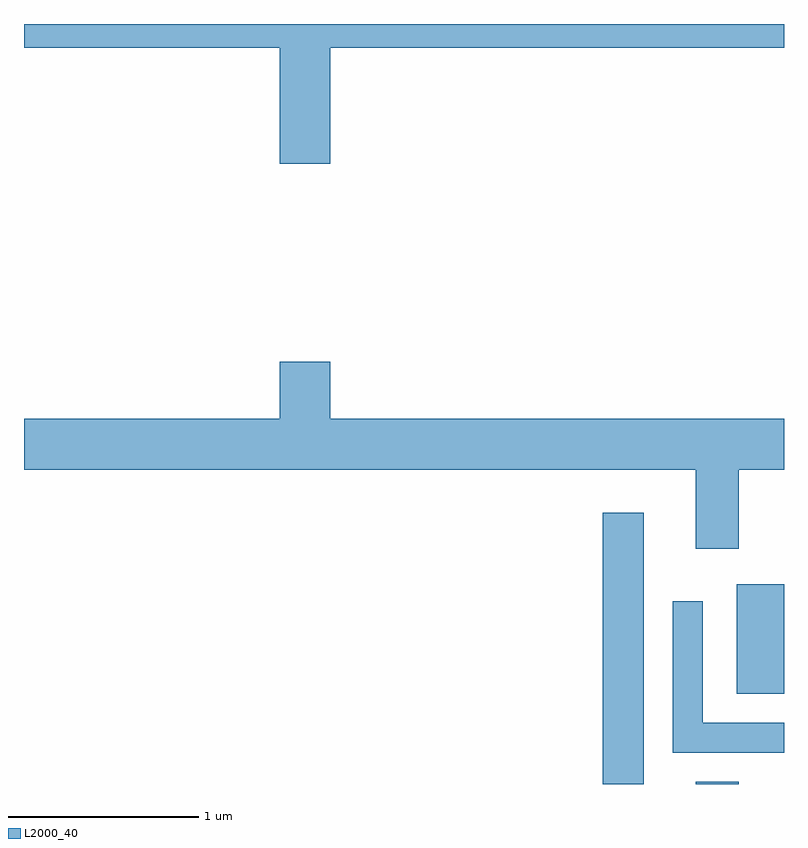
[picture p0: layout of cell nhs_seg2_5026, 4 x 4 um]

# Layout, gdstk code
import gdstk
lib = gdstk.Library(unit=1e-6, precision=1e-09)
def R(c, l, rs):  # rectangles x0, y0, x1, y1
    for r in rs: c.add(gdstk.rectangle(r[:2], r[2:], *l))
def P(c, l, *ps):  # polygons
    for p in ps: c.add(gdstk.Polygon(p, *l))
L2000_40 = (2000, 40)

nhs_seg2_5026 = lib.new_cell('nhs_seg2_5026')
R(nhs_seg2_5026, L2000_40, [(336.656,1017.802,336.874,1019.229), (337.146,1017.802,337.374,1017.814), (337.361,1018.276,337.611,1018.854)])
P(nhs_seg2_5026, L2000_40, [(335.224,1021.676),(337.611,1021.676),(337.611,1021.802),(333.611,1021.802),(333.611,1021.676),(334.956,1021.676),(334.956,1021.066),(335.224,1021.066)],
  [(337.146,1019.041),(337.374,1019.041),(337.374,1019.456),(337.611,1019.456),(337.611,1019.724),(335.224,1019.724),(335.224,1020.024),(334.956,1020.024),(334.956,1019.724),(333.611,1019.724),(333.611,1019.456),(337.146,1019.456)],
  [(337.611,1018.124),(337.184,1018.124),(337.184,1018.763),(337.026,1018.763),(337.026,1017.966),(337.611,1017.966)])

lib.write_gds('nhs_seg2_5026.gds')
